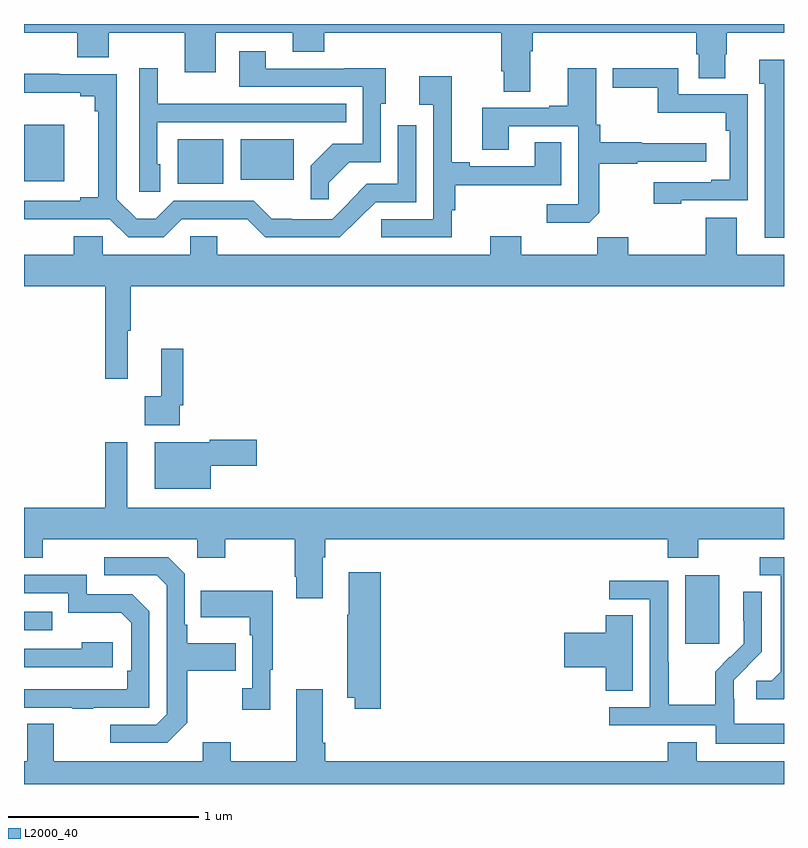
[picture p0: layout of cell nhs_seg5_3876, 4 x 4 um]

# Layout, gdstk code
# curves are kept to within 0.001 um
import gdstk
lib = gdstk.Library(unit=1e-6, precision=1e-09)
def R(c, l, rs):  # rectangles x0, y0, x1, y1
    for r in rs: c.add(gdstk.rectangle(r[:2], r[2:], *l))
def P(c, l, *ps):  # polygons
    for p in ps: c.add(gdstk.Polygon(p, *l))
L2000_40 = (2000, 40)

nhs_seg5_3876 = lib.new_cell('nhs_seg5_3876')
R(nhs_seg5_3876, L2000_40, [(342.479,861.537,342.658,861.898), (339,861.609,339.149,861.705), (339.809,863.957,340.048,864.193), (339,863.972,339.211,864.268), (340.142,863.978,340.42,864.193)])
P(nhs_seg5_3876, L2000_40, [(341.665,864.656),(341.678,864.656),(341.678,864.752),(342.539,864.752),(342.539,864.639),(342.551,864.639),(342.551,864.514),(342.691,864.514),(342.691,864.639),(342.699,864.639),(342.699,864.752),(343,864.752),(343,864.799),(339,864.799),(339,864.752),(339.281,864.752),(339.281,864.624),(339.445,864.624),(339.445,864.752),(339.845,864.752),(339.845,864.546),(340.009,864.546),(340.009,864.752),(340.415,864.752),(340.415,864.653),(340.579,864.653),(340.579,864.752),(341.513,864.752),(341.513,864.55),(341.525,864.55),(341.525,864.442),(341.665,864.442)],
  [(340.604,863.964),(340.712,864.072),(340.878,864.072),(340.878,864.378),(340.903,864.378),(340.903,864.566),(340.685,864.566),(340.685,864.564),(340.273,864.564),(340.273,864.655),(340.133,864.655),(340.133,864.468),(340.782,864.468),(340.782,864.168),(340.625,864.168),(340.509,864.052),(340.509,863.877),(340.604,863.877)],
  [(343,864.61),(342.869,864.61),(342.869,864.485),(342.899,864.485),(342.899,863.675),(343,863.675)],
  [(342.459,863.871),(342.81,863.871),(342.81,864.429),(342.444,864.429),(342.444,864.566),(342.099,864.566),(342.099,864.463),(342.336,864.463),(342.336,864.332),(342.694,864.332),(342.694,864.236),(342.714,864.236),(342.714,863.98),(342.617,863.98),(342.617,863.967),(342.315,863.967),(342.315,863.852),(342.459,863.852)],
  [(339.718,864.06),(339.702,864.06),(339.702,864.282),(340.697,864.282),(340.697,864.378),(340.037,864.378),(340.037,864.379),(339.703,864.379),(339.703,864.565),(339.606,864.565),(339.606,863.917),(339.718,863.917)],
  [(342.027,863.805),(342.027,864.063),(342.227,864.063),(342.227,864.075),(342.592,864.075),(342.592,864.172),(342.251,864.172),(342.251,864.176),(342.032,864.176),(342.032,864.268),(342.012,864.268),(342.012,864.565),(341.861,864.565),(341.861,864.37),(341.765,864.37),(341.765,864.357),(341.411,864.357),(341.411,864.136),(341.551,864.136),(341.551,864.261),(341.916,864.261),(341.916,863.85),(341.751,863.85),(341.751,863.754),(341.975,863.754)],
  [(339.831,863.772),(340.175,863.771),(340.269,863.676),(340.663,863.676),(340.851,863.862),(341.064,863.862),(341.064,864.265),(340.968,864.265),(340.968,863.958),(340.805,863.958),(340.711,863.864),(340.713,863.862),(340.623,863.772),(340.408,863.772),(340.408,863.774),(340.304,863.774),(340.209,863.868),(339.789,863.868),(339.694,863.773),(339.593,863.773),(339.489,863.877),(339.489,864.534),(339.185,864.534),(339.185,864.536),(339,864.536),(339,864.437),(339.296,864.437),(339.296,864.418),(339.373,864.418),(339.373,864.341),(339.392,864.341),(339.392,863.888),(339.296,863.888),(339.296,863.868),(339,863.868),(339,863.771),(339.452,863.772),(339.548,863.676),(339.735,863.676)],
  [(341.252,863.819),(341.27,863.819),(341.27,863.95),(341.827,863.95),(341.827,864.176),(341.687,864.176),(341.687,864.051),(341.347,864.051),(341.347,864.071),(341.251,864.071),(341.251,864.523),(341.079,864.523),(341.079,864.374),(341.154,864.374),(341.154,863.772),(340.881,863.772),(340.881,863.676),(341.252,863.676)],
  [(339.545,863.184),(339.563,863.184),(339.563,863.42),(343,863.42),(343,863.584),(342.751,863.584),(342.751,863.779),(342.587,863.779),(342.587,863.584),(342.181,863.584),(342.181,863.677),(342.017,863.677),(342.017,863.584),(341.617,863.584),(341.617,863.683),(341.453,863.683),(341.453,863.584),(340.018,863.584),(340.018,863.682),(339.876,863.682),(339.876,863.584),(339.414,863.584),(339.414,863.682),(339.263,863.682),(339.263,863.584),(339,863.584),(339,863.42),(339.427,863.42),(339.427,862.932),(339.545,862.932)],
  [(339.819,862.792),(339.839,862.792),(339.839,863.089),(339.722,863.089),(339.722,862.841),(339.636,862.841),(339.636,862.688),(339.819,862.688)],
  [(339.982,862.475),(340.225,862.475),(340.225,862.61),(339.978,862.61),(339.978,862.597),(339.689,862.597),(339.689,862.352),(339.982,862.352)],
  [(340.573,861.992),(340.586,861.992),(340.586,862.088),(342.389,862.088),(342.389,861.989),(342.549,861.989),(342.549,862.088),(343,862.088),(343,862.252),(339.544,862.252),(339.544,862.597),(339.427,862.597),(339.427,862.252),(339,862.252),(339,861.989),(339.099,861.989),(339.099,862.088),(339.912,862.088),(339.912,861.989),(340.059,861.989),(340.059,862.088),(340.426,862.088),(340.426,861.889),(340.433,861.889),(340.433,861.777),(340.573,861.777)],
  [(343,861.247),(343,861.993),(342.873,861.993),(342.873,861.897),(342.983,861.897),(342.983,861.389),(342.936,861.342),(342.855,861.342),(342.855,861.245),(342.998,861.245)],
  [(339.859,861.121),(339.859,861.394),(340.115,861.394),(340.115,861.541),(339.859,861.541),(339.859,861.637),(339.846,861.637),(339.846,861.906),(339.759,861.993),(339.423,861.993),(339.423,861.897),(339.699,861.897),(339.75,861.846),(339.75,861.165),(339.696,861.111),(339.453,861.111),(339.453,861.015),(339.753,861.015)],
  [(340.877,861.913),(340.709,861.913),(340.709,861.689),(340.702,861.689),(340.702,861.254),(340.742,861.254),(340.742,861.195),(340.877,861.195)],
  [(339.365,861.201),(339.66,861.201),(339.66,861.708),(339.57,861.798),(339.33,861.798),(339.33,861.9),(339,861.9),(339,861.804),(339.234,861.804),(339.234,861.701),(339.511,861.701),(339.564,861.648),(339.564,861.394),(339.544,861.394),(339.544,861.297),(339,861.297),(339,861.201),(339.253,861.201),(339.253,861.196),(339.365,861.196)],
  [(343,861.115),(342.738,861.115),(342.738,861.249),(342.736,861.249),(342.736,861.346),(342.882,861.494),(342.882,861.812),(342.786,861.812),(342.786,861.658),(342.788,861.658),(342.788,861.536),(342.717,861.465),(342.714,861.468),(342.637,861.391),(342.637,861.217),(342.393,861.217),(342.393,861.44),(342.39,861.44),(342.39,861.87),(342.081,861.87),(342.081,861.771),(342.294,861.771),(342.294,861.204),(342.081,861.204),(342.081,861.108),(342.642,861.108),(342.642,861.011),(343,861.011)],
  [(340.297,861.401),(340.309,861.401),(340.309,861.817),(339.931,861.817),(339.931,861.677),(340.188,861.677),(340.188,861.581),(340.2,861.581),(340.2,861.302),(340.149,861.302),(340.149,861.189),(340.297,861.189)],
  [(342.205,861.686),(342.062,861.686),(342.062,861.596),(341.844,861.596),(341.844,861.413),(342.062,861.413),(342.062,861.289),(342.205,861.289)],
  [(339.466,861.544),(339.305,861.544),(339.305,861.51),(339,861.51),(339,861.414),(339.466,861.414)],
  [(343,860.92),(342.541,860.92),(342.541,861.019),(342.389,861.019),(342.389,860.92),(340.586,860.92),(340.586,861.016),(340.573,861.016),(340.573,861.298),(340.433,861.298),(340.433,860.92),(340.089,860.92),(340.089,861.019),(339.941,861.019),(339.941,860.92),(339.157,860.92),(339.157,861.115),(339.017,861.115),(339.017,860.92),(339,860.92),(339,860.799),(343,860.799)])

lib.write_gds('nhs_seg5_3876.gds')
